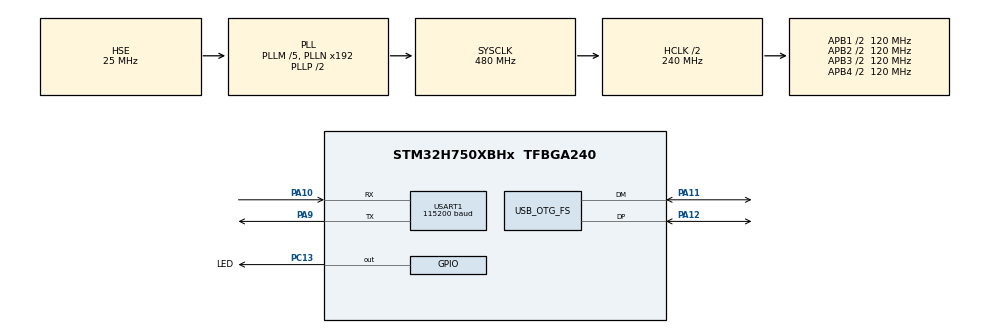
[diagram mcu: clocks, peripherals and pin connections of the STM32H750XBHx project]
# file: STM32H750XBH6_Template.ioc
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CORTEX_M7.CPU_DCache=Disabled
CORTEX_M7.CPU_ICache=Disabled
CORTEX_M7.MPU_Control=__NULL
CORTEX_M7.default_mode_Activation=0
Mcu.Family=STM32H7
Mcu.Name=STM32H750XBHx
Mcu.Package=TFBGA240
NVIC.OTG_FS_IRQn=true\:0\:0\:false\:false\:true\:false\:true\:true
NVIC.PriorityGroup=NVIC_PRIORITYGROUP_4
NVIC.USART1_IRQn=true\:1\:0\:true\:false\:true\:true\:true\:true
PA10.Mode=Asynchronous
PA10.Signal=USART1_RX
PA11.Mode=Device_Only
PA11.Signal=USB_OTG_FS_DM
PA12.Mode=Device_Only
PA12.Signal=USB_OTG_FS_DP
PA13\ (JTMS/SWDIO).Mode=Serial_Wire
PA13\ (JTMS/SWDIO).Signal=DEBUG_JTMS-SWDIO
PA14\ (JTCK/SWCLK).Mode=Serial_Wire
PA14\ (JTCK/SWCLK).Signal=DEBUG_JTCK-SWCLK
PA9.Mode=Asynchronous
PA9.Signal=USART1_TX
PC13.GPIO_Label=LED
PC13.PinState=GPIO_PIN_SET
PC13.Signal=GPIO_Output
PC14-OSC32_IN\ (OSC32_IN).Mode=LSE-External-Oscillator
PC14-OSC32_IN\ (OSC32_IN).Signal=RCC_OSC32_IN
PC15-OSC32_OUT\ (OSC32_OUT).Mode=LSE-External-Oscillator
PC15-OSC32_OUT\ (OSC32_OUT).Signal=RCC_OSC32_OUT
PH0-OSC_IN\ (PH0).Mode=HSE-External-Oscillator
PH0-OSC_IN\ (PH0).Signal=RCC_OSC_IN
PH1-OSC_OUT\ (PH1).Mode=HSE-External-Oscillator
PH1-OSC_OUT\ (PH1).Signal=RCC_OSC_OUT
ProjectManager.HeapSize=0x200
ProjectManager.StackSize=0x400
ProjectManager.TargetToolchain=CMake
RCC.ADCFreq_Value=480000000
RCC.APB1Freq_Value=120000000
RCC.APB2Freq_Value=120000000
RCC.APB3Freq_Value=120000000
RCC.APB4Freq_Value=120000000
RCC.CortexFreq_Value=480000000
RCC.D1PPRE=RCC_APB3_DIV2
RCC.D2PPRE1=RCC_APB1_DIV2
RCC.D2PPRE2=RCC_APB2_DIV2
RCC.D3PPRE=RCC_APB4_DIV2
RCC.DIVM1=5
RCC.DIVM2=5
RCC.DIVM3=5
RCC.DIVN1=192
RCC.DIVN2=192
RCC.DIVN3=192
RCC.FLatency=FLASH_LATENCY_4
RCC.HCLKFreq_Value=240000000
RCC.HPRE=RCC_HCLK_DIV2
RCC.PLL1_VCI_Range=RCC_PLL1VCIRANGE_2
RCC.PLL2FRACN=0
RCC.PLL3FRACN=0
RCC.PLLFRACN=0
RCC.PLLSourceVirtual=RCC_PLLSOURCE_HSE
RCC.PWR_Regulator_Voltage_Scale=PWR_REGULATOR_VOLTAGE_SCALE0
RCC.ProductRev=revV
RCC.SYSCLKFreq_VALUE=480000000
RCC.SYSCLKSource=RCC_SYSCLKSOURCE_PLLCLK
RCC.USBCLockSelection=RCC_USBCLKSOURCE_HSI48
RCC.USBFreq_Value=48000000
USART1.AutoBaudRateEnableParam=UART_ADVFEATURE_AUTOBAUDRATE_DISABLE
USART1.BaudRate=115200
USART1.ClockPrescaler=PRESCALER_DIV1
USART1.DMADisableonRxErrorParam=ADVFEATURE_DMA_ENABLEONRXERROR
USART1.DataInvertParam=ADVFEATURE_DATAINV_DISABLE
USART1.FIFOMode=FIFOMODE_DISABLE
USART1.MSBFirstParam=ADVFEATURE_MSBFIRST_DISABLE
USART1.Mode=MODE_TX_RX
USART1.OneBitSampling=UART_ONE_BIT_SAMPLE_DISABLE
USART1.OverSampling=UART_OVERSAMPLING_16
USART1.OverrunDisableParam=ADVFEATURE_OVERRUN_ENABLE
USART1.Parity=PARITY_NONE
USART1.RXFIFOThreshold=RXFIFO_THRESHOLD_1EIGHTHFULL
USART1.RxPinLevelInvertParam=ADVFEATURE_RXINV_DISABLE
USART1.StopBits=STOPBITS_1
USART1.SwapParam=ADVFEATURE_SWAP_DISABLE
USART1.TXFIFOThreshold=TXFIFO_THRESHOLD_1EIGHTHFULL
USART1.TxPinLevelInvertParam=ADVFEATURE_TXINV_DISABLE
USART1.VirtualMode-Asynchronous=VM_ASYNC
USART1.WordLength=WORDLENGTH_8B
USB_DEVICE.CLASS_NAME_FS=CDC
USB_DEVICE.VirtualMode-CDC_FS=Cdc
USB_DEVICE.VirtualModeFS=Cdc_FS
USB_OTG_FS.VirtualMode=Device_Only
VP_MEMORYMAP_VS_MEMORYMAP.Mode=CurAppReg
VP_USB_DEVICE_VS_USB_DEVICE_CDC_FS.Mode=CDC_FS
board=custom

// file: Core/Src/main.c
/* USER CODE BEGIN Header */
/**
  ******************************************************************************
  * @file           : main.c
  * @brief          : Main program body
  ******************************************************************************
  * @attention
  *
  * Copyright (c) 2025 STMicroelectronics.
  * All rights reserved.
  *
  * This software is licensed under terms that can be found in the LICENSE file
  * in the root directory of this software component.
  * If no LICENSE file comes with this software, it is provided AS-IS.
  *
  ******************************************************************************
  */
/* USER CODE END Header */
#include "main.h"
#include "usart.h"
#include "usb_device.h"
#include "gpio.h"

/* USER CODE BEGIN Includes */
#include "retarget.h"   //重定向printf
#include "usbd_cdc_if.h"
/* USER CODE END Includes */

void SystemClock_Config(void);

int main(void)
{

  /* MCU Configuration--------------------------------------------------------*/

  /* Reset of all peripherals, Initializes the Flash interface and the Systick. */
  HAL_Init();

  /* Configure the system clock */
  SystemClock_Config();

  /* Initialize all configured peripherals */
  MX_GPIO_Init();
  MX_USART1_UART_Init();
  MX_USB_DEVICE_Init();
  /* USER CODE BEGIN 2 */
  RetargetInit(&huart1);  //重定向printf

  float f_var = 15.963F;
  int i_var = 185;

  /* USER CODE END 2 */

  /* Infinite loop */
  while (1)
  {

    /* USER CODE BEGIN 3 */
    HAL_GPIO_TogglePin(LED_GPIO_Port, LED_Pin);
    HAL_Delay(200);
    HAL_GPIO_WritePin(LED_GPIO_Port, LED_Pin, GPIO_PIN_SET);
    HAL_Delay(200);
    HAL_GPIO_WritePin(LED_GPIO_Port, LED_Pin, GPIO_PIN_RESET);
    HAL_Delay(200);
    HAL_GPIO_WritePin(LED_GPIO_Port, LED_Pin, GPIO_PIN_SET);
    HAL_Delay(200);
    f_var += 0.5F;
    i_var += 1;

    usb_printf("USB Printf Test! Float:%f, Integer:%d\r\n", f_var, i_var);
    HAL_Delay(500);
    printf("hello, world!\n");
  }
  /* USER CODE END 3 */
}

void SystemClock_Config(void)
{
  RCC_OscInitTypeDef RCC_OscInitStruct = {0};
  RCC_ClkInitTypeDef RCC_ClkInitStruct = {0};

  /** Supply configuration update enable
  */
  HAL_PWREx_ConfigSupply(PWR_LDO_SUPPLY);

  /** Configure the main internal regulator output voltage
  */
  __HAL_PWR_VOLTAGESCALING_CONFIG(PWR_REGULATOR_VOLTAGE_SCALE0);

  while(!__HAL_PWR_GET_FLAG(PWR_FLAG_VOSRDY)) {}

  /** Initializes the RCC Oscillators according to the specified parameters
  * in the RCC_OscInitTypeDef structure.
  */
  RCC_OscInitStruct.OscillatorType = RCC_OSCILLATORTYPE_HSI48|RCC_OSCILLATORTYPE_HSE;
  RCC_OscInitStruct.HSEState = RCC_HSE_ON;
  RCC_OscInitStruct.HSI48State = RCC_HSI48_ON;
  RCC_OscInitStruct.PLL.PLLState = RCC_PLL_ON;
  RCC_OscInitStruct.PLL.PLLSource = RCC_PLLSOURCE_HSE;
  RCC_OscInitStruct.PLL.PLLM = 5;
  RCC_OscInitStruct.PLL.PLLN = 192;
  RCC_OscInitStruct.PLL.PLLP = 2;
  RCC_OscInitStruct.PLL.PLLQ = 2;
  RCC_OscInitStruct.PLL.PLLR = 2;
  RCC_OscInitStruct.PLL.PLLRGE = RCC_PLL1VCIRANGE_2;
  RCC_OscInitStruct.PLL.PLLVCOSEL = RCC_PLL1VCOWIDE;
  RCC_OscInitStruct.PLL.PLLFRACN = 0;
  if (HAL_RCC_OscConfig(&RCC_OscInitStruct) != HAL_OK)
  {
    Error_Handler();
  }

  /** Initializes the CPU, AHB and APB buses clocks
  */
  RCC_ClkInitStruct.ClockType = RCC_CLOCKTYPE_HCLK|RCC_CLOCKTYPE_SYSCLK
                              |RCC_CLOCKTYPE_PCLK1|RCC_CLOCKTYPE_PCLK2
                              |RCC_CLOCKTYPE_D3PCLK1|RCC_CLOCKTYPE_D1PCLK1;
  RCC_ClkInitStruct.SYSCLKSource = RCC_SYSCLKSOURCE_PLLCLK;
  RCC_ClkInitStruct.SYSCLKDivider = RCC_SYSCLK_DIV1;
  RCC_ClkInitStruct.AHBCLKDivider = RCC_HCLK_DIV2;
  RCC_ClkInitStruct.APB3CLKDivider = RCC_APB3_DIV2;
  RCC_ClkInitStruct.APB1CLKDivider = RCC_APB1_DIV2;
  RCC_ClkInitStruct.APB2CLKDivider = RCC_APB2_DIV2;
  RCC_ClkInitStruct.APB4CLKDivider = RCC_APB4_DIV2;

  if (HAL_RCC_ClockConfig(&RCC_ClkInitStruct, FLASH_LATENCY_4) != HAL_OK)
  {
    Error_Handler();
  }
}

void Error_Handler(void)
{
  __disable_irq();
  while (1)
  {
  }
}
